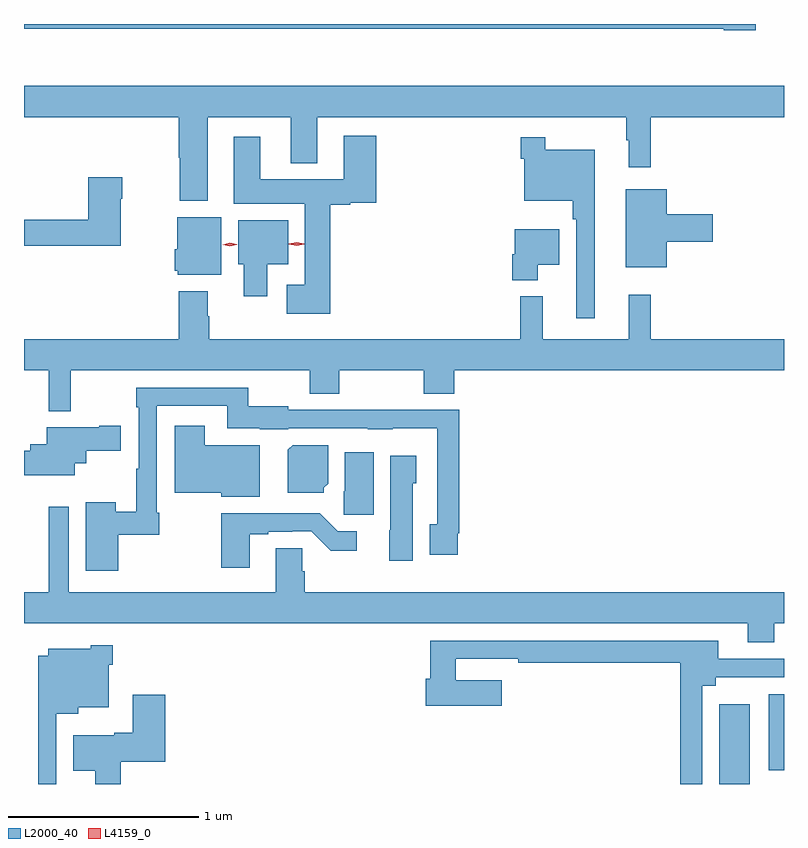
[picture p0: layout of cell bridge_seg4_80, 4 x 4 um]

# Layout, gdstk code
import gdstk
lib = gdstk.Library(unit=1e-6, precision=1e-09)
def R(c, l, rs):  # rectangles x0, y0, x1, y1
    for r in rs: c.add(gdstk.rectangle(r[:2], r[2:], *l))
def P(c, l, *ps):  # polygons
    for p in ps: c.add(gdstk.Polygon(p, *l))
L2000_40 = (2000, 40)
L4159_0 = (4159, 0)

bridge_seg4_80 = lib.new_cell('bridge_seg4_80')
R(bridge_seg4_80, L2000_40, [(424.175,801.302,424.336,801.721), (424.436,801.374,424.516,801.775)])
P(bridge_seg4_80, L2000_40, [(424.367,805.302),(420.516,805.302),(420.516,805.278),(424.2,805.278),(424.2,805.27),(424.367,805.27)],
  [(421.483,804.812),(421.919,804.812),(421.919,804.569),(422.059,804.569),(422.059,804.812),(423.687,804.812),(423.687,804.689),(423.698,804.689),(423.698,804.549),(423.815,804.549),(423.815,804.812),(424.516,804.812),(424.516,804.976),(420.516,804.976),(420.516,804.812),(421.331,804.812),(421.331,804.597),(421.336,804.597),(421.336,804.371),(421.483,804.371)],
  [(422.129,804.35),(422.232,804.35),(422.232,804.362),(422.369,804.362),(422.369,804.715),(422.198,804.715),(422.198,804.484),(421.759,804.484),(421.759,804.709),(421.619,804.709),(421.619,804.356),(421.994,804.356),(421.994,803.929),(421.899,803.929),(421.899,803.777),(422.129,803.777)],
  [(423.52,804.64),(423.259,804.64),(423.259,804.706),(423.13,804.706),(423.13,804.593),(423.15,804.593),(423.15,804.371),(423.403,804.371),(423.403,804.275),(423.423,804.275),(423.423,803.754),(423.52,803.754)],
  [(421.024,804.383),(421.032,804.383),(421.032,804.496),(420.854,804.496),(420.854,804.272),(420.516,804.272),(420.516,804.136),(421.024,804.136)],
  [(423.898,804.155),(424.141,804.155),(424.141,804.302),(423.898,804.302),(423.898,804.433),(423.683,804.433),(423.683,804.023),(423.898,804.023)],
  [(421.555,804.286),(421.322,804.286),(421.322,804.117),(421.31,804.117),(421.31,804.003),(421.326,804.003),(421.326,803.981),(421.555,803.981)],
  [(421.795,804.038),(421.906,804.038),(421.906,804.268),(421.643,804.268),(421.643,804.038),(421.673,804.038),(421.673,803.868),(421.795,803.868)],
  [(423.22,804.035),(423.334,804.035),(423.334,804.223),(423.098,804.223),(423.098,804.09),(423.086,804.09),(423.086,803.954),(423.22,803.954)],
  [(420.761,803.48),(422.02,803.48),(422.02,803.356),(422.175,803.356),(422.175,803.48),(422.62,803.48),(422.62,803.356),(422.78,803.356),(422.78,803.48),(424.516,803.48),(424.516,803.644),(423.815,803.644),(423.815,803.878),(423.698,803.878),(423.698,803.644),(423.245,803.644),(423.245,803.869),(423.127,803.869),(423.127,803.644),(421.491,803.644),(421.491,803.765),(421.483,803.765),(421.483,803.896),(421.331,803.896),(421.331,803.644),(420.516,803.644),(420.516,803.48),(420.647,803.48),(420.647,803.264),(420.761,803.264)],
  [(421.013,802.614),(421.228,802.614),(421.228,802.729),(421.215,802.729),(421.215,803.292),(421.587,803.292),(421.587,803.174),(421.758,803.174),(421.758,803.168),(421.908,803.168),(421.908,803.175),(422.325,803.175),(422.325,803.168),(422.457,803.168),(422.457,803.174),(422.691,803.174),(422.691,802.67),(422.651,802.67),(422.651,802.509),(422.8,802.509),(422.8,802.621),(422.807,802.621),(422.807,803.271),(422.557,803.271),(422.557,803.273),(422.325,803.273),(422.325,803.271),(421.908,803.271),(421.908,803.29),(421.696,803.29),(421.696,803.388),(421.107,803.388),(421.107,803.285),(421.119,803.285),(421.119,802.961),(421.107,802.961),(421.107,802.735),(421,802.735),(421,802.786),(420.842,802.786),(420.842,802.425),(421.013,802.425)],
  [(421.756,803.084),(421.59,803.084),(421.59,803.086),(421.468,803.086),(421.468,803.188),(421.31,803.188),(421.31,802.835),(421.554,802.835),(421.554,802.814),(421.756,802.814)],
  [(420.784,802.991),(420.844,802.991),(420.844,803.057),(421.024,803.057),(421.024,803.187),(420.911,803.187),(420.911,803.179),(420.635,803.179),(420.635,803.089),(420.548,803.089),(420.548,803.057),(420.516,803.057),(420.516,802.928),(420.784,802.928)],
  [(422.094,802.86),(422.116,802.882),(422.116,803.086),(421.93,803.086),(421.904,803.06),(421.904,802.835),(422.094,802.835)],
  [(422.356,803.047),(422.204,803.047),(422.204,802.842),(422.2,802.842),(422.2,802.719),(422.356,802.719)],
  [(422.563,802.884),(422.581,802.884),(422.581,803.029),(422.444,803.029),(422.444,802.638),(422.438,802.638),(422.438,802.476),(422.563,802.476)],
  [(424.465,802.148),(424.516,802.148),(424.516,802.312),(421.994,802.312),(421.994,802.422),(421.98,802.422),(421.98,802.544),(421.841,802.544),(421.841,802.312),(420.751,802.312),(420.751,802.762),(420.647,802.762),(420.647,802.312),(420.516,802.312),(420.516,802.148),(424.325,802.148),(424.325,802.049),(424.465,802.049)],
  [(421.705,802.617),(421.801,802.617),(421.801,802.629),(421.928,802.629),(421.928,802.632),(422.028,802.632),(422.131,802.53),(422.266,802.53),(422.266,802.632),(422.166,802.632),(422.072,802.726),(421.553,802.726),(421.553,802.44),(421.705,802.44)],
  [(424.086,801.818),(424.156,801.818),(424.156,801.864),(424.516,801.864),(424.516,801.96),(424.171,801.96),(424.171,802.056),(422.653,802.056),(422.653,801.855),(422.63,801.855),(422.63,801.713),(423.031,801.713),(423.031,801.847),(422.789,801.847),(422.789,801.96),(423.118,801.96),(423.118,801.94),(423.97,801.94),(423.97,801.302),(424.086,801.302)],
  [(420.687,801.671),(420.802,801.671),(420.802,801.707),(420.961,801.707),(420.961,801.929),(420.983,801.929),(420.983,802.033),(420.867,802.033),(420.867,802.015),(420.644,802.015),(420.644,801.976),(420.59,801.976),(420.59,801.302),(420.687,801.302)],
  [(421.025,801.419),(421.259,801.419),(421.259,801.772),(421.088,801.772),(421.088,801.572),(420.992,801.572),(420.992,801.559),(420.776,801.559),(420.776,801.371),(420.89,801.371),(420.89,801.302),(421.025,801.302)])
P(bridge_seg4_80, L4159_0, [(421.6,804.131),(421.562,804.141),(421.562,804.141),(421.562,804.141),(421.599,804.151),(421.637,804.142),(421.637,804.141),(421.637,804.141)],
  [(421.951,804.134),(421.91,804.144),(421.91,804.144),(421.91,804.145),(421.951,804.154),(421.992,804.145),(421.992,804.144),(421.992,804.144)])

lib.write_gds('bridge_seg4_80.gds')
